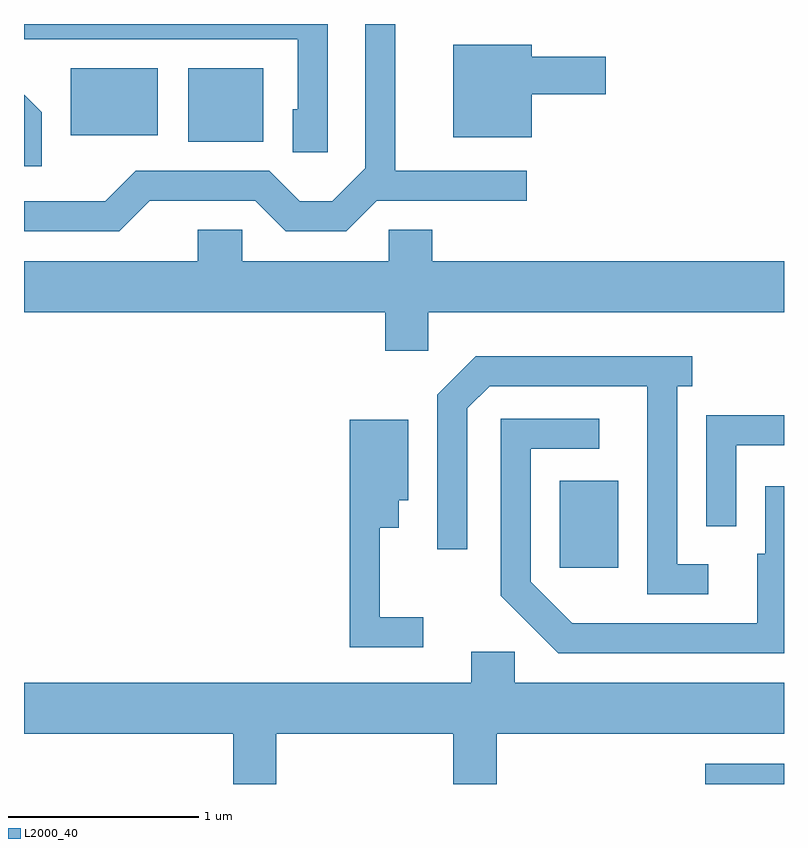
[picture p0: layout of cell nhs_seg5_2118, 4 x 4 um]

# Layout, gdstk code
import gdstk
lib = gdstk.Library(unit=1e-6, precision=1e-09)
def R(c, l, rs):  # rectangles x0, y0, x1, y1
    for r in rs: c.add(gdstk.rectangle(r[:2], r[2:], *l))
def P(c, l, *ps):  # polygons
    for p in ps: c.add(gdstk.Polygon(p, *l))
L2000_40 = (2000, 40)

nhs_seg5_2118 = lib.new_cell('nhs_seg5_2118')
R(nhs_seg5_2118, L2000_40, [(251.196,1472.072,251.611,1472.179), (250.431,1473.211,250.739,1473.669), (248.476,1475.451,248.869,1475.839), (247.856,1475.486,248.314,1475.839)])
P(nhs_seg5_2118, L2000_40, [(249.209,1476.072),(247.611,1476.072),(247.611,1475.991),(249.051,1475.991),(249.051,1475.624),(249.026,1475.624),(249.026,1475.396),(249.209,1475.396)],
  [(248.272,1475.141),(248.829,1475.141),(248.989,1474.981),(249.307,1474.981),(249.467,1475.141),(250.258,1475.141),(250.258,1475.299),(249.564,1475.299),(249.564,1476.072),(249.406,1476.072),(249.406,1475.312),(249.234,1475.139),(249.062,1475.139),(248.902,1475.299),(248.199,1475.299),(248.039,1475.139),(247.611,1475.139),(247.611,1474.981),(248.112,1474.981)],
  [(250.284,1475.701),(250.674,1475.701),(250.674,1475.899),(250.284,1475.899),(250.284,1475.964),(249.871,1475.964),(249.871,1475.476),(250.284,1475.476)],
  [(247.704,1475.607),(247.611,1475.7),(247.611,1475.323),(247.704,1475.323)],
  [(249.739,1474.556),(251.611,1474.556),(251.611,1474.824),(249.759,1474.824),(249.759,1474.989),(249.531,1474.989),(249.531,1474.824),(248.759,1474.824),(248.759,1474.989),(248.526,1474.989),(248.526,1474.824),(247.611,1474.824),(247.611,1474.556),(249.511,1474.556),(249.511,1474.351),(249.739,1474.351)],
  [(251.213,1473.229),(251.049,1473.229),(251.049,1474.166),(251.128,1474.166),(251.128,1474.324),(249.989,1474.324),(249.786,1474.122),(249.786,1473.308),(249.944,1473.308),(249.944,1474.049),(250.062,1474.166),(250.891,1474.166),(250.891,1473.071),(251.213,1473.071)],
  [(251.359,1473.856),(251.611,1473.856),(251.611,1474.014),(251.201,1474.014),(251.201,1473.428),(251.359,1473.428)],
  [(251.611,1473.639),(251.511,1473.639),(251.511,1473.284),(251.471,1473.284),(251.471,1472.919),(250.497,1472.919),(250.279,1473.137),(250.279,1473.836),(250.638,1473.836),(250.638,1473.994),(250.121,1473.994),(250.121,1473.064),(250.424,1472.761),(251.611,1472.761)],
  [(249.713,1472.949),(249.484,1472.949),(249.484,1473.421),(249.584,1473.421),(249.584,1473.566),(249.634,1473.566),(249.634,1473.989),(249.326,1473.989),(249.326,1472.791),(249.713,1472.791)],
  [(248.939,1472.336),(249.871,1472.336),(249.871,1472.072),(250.099,1472.072),(250.099,1472.336),(251.611,1472.336),(251.611,1472.604),(250.194,1472.604),(250.194,1472.769),(249.966,1472.769),(249.966,1472.604),(247.611,1472.604),(247.611,1472.336),(248.711,1472.336),(248.711,1472.072),(248.939,1472.072)])

lib.write_gds('nhs_seg5_2118.gds')
